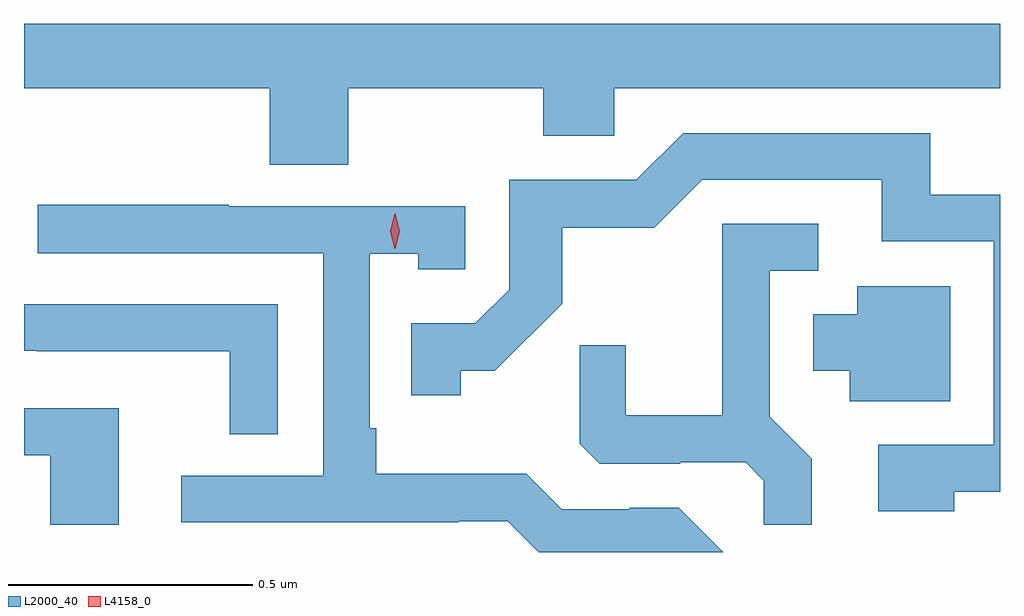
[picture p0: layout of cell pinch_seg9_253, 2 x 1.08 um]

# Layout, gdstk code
import gdstk
lib = gdstk.Library(unit=1e-6, precision=1e-09)
def P(c, l, *ps):  # polygons
    for p in ps: c.add(gdstk.Polygon(p, *l))
L2000_40 = (2000, 40)
L4158_0 = (4158, 0)

pinch_seg9_253 = lib.new_cell('pinch_seg9_253')
P(pinch_seg9_253, L2000_40, [(491.301,1248.368),(491.701,1248.368),(491.701,1248.27),(491.847,1248.27),(491.847,1248.368),(492.637,1248.368),(492.637,1248.5),(490.637,1248.5),(490.637,1248.368),(491.141,1248.368),(491.141,1248.211),(491.301,1248.211)],
  [(492.543,1247.541),(492.637,1247.541),(492.637,1248.15),(492.494,1248.15),(492.494,1248.276),(491.988,1248.276),(491.892,1248.18),(491.631,1248.18),(491.631,1247.955),(491.562,1247.886),(491.431,1247.886),(491.431,1247.739),(491.532,1247.739),(491.532,1247.789),(491.602,1247.789),(491.74,1247.926),(491.74,1248.082),(491.929,1248.082),(492.027,1248.18),(492.395,1248.18),(492.395,1248.054),(492.624,1248.054),(492.624,1247.637),(492.387,1247.637),(492.387,1247.501),(492.543,1247.501)],
  [(491.979,1247.508),(491.878,1247.508),(491.878,1247.505),(491.739,1247.505),(491.666,1247.578),(491.359,1247.578),(491.359,1247.671),(491.346,1247.671),(491.346,1248.029),(491.445,1248.029),(491.445,1247.997),(491.541,1247.997),(491.541,1248.126),(491.057,1248.126),(491.057,1248.129),(490.665,1248.129),(490.665,1248.03),(491.25,1248.03),(491.25,1247.574),(490.959,1247.574),(490.959,1247.478),(491.528,1247.478),(491.528,1247.481),(491.628,1247.481),(491.692,1247.417),(492.07,1247.417)],
  [(492.251,1247.609),(492.165,1247.695),(492.165,1247.994),(492.265,1247.994),(492.265,1248.09),(492.068,1248.09),(492.068,1247.698),(491.87,1247.698),(491.87,1247.841),(491.776,1247.841),(491.776,1247.639),(491.817,1247.598),(491.982,1247.598),(491.982,1247.601),(492.116,1247.601),(492.153,1247.564),(492.153,1247.473),(492.251,1247.473)],
  [(492.535,1247.962),(492.344,1247.962),(492.344,1247.905),(492.254,1247.905),(492.254,1247.789),(492.329,1247.789),(492.329,1247.726),(492.535,1247.726)],
  [(491.157,1247.925),(490.637,1247.925),(490.637,1247.83),(490.663,1247.83),(490.663,1247.829),(491.059,1247.829),(491.059,1247.659),(491.157,1247.659)],
  [(490.831,1247.712),(490.637,1247.712),(490.637,1247.616),(490.691,1247.616),(490.691,1247.473),(490.831,1247.473)])
P(pinch_seg9_253, L4158_0, [(491.397,1248.039),(491.397,1248.039),(491.387,1248.075),(491.397,1248.111),(491.397,1248.111),(491.398,1248.111),(491.407,1248.075),(491.398,1248.039)])

lib.write_gds('pinch_seg9_253.gds')
